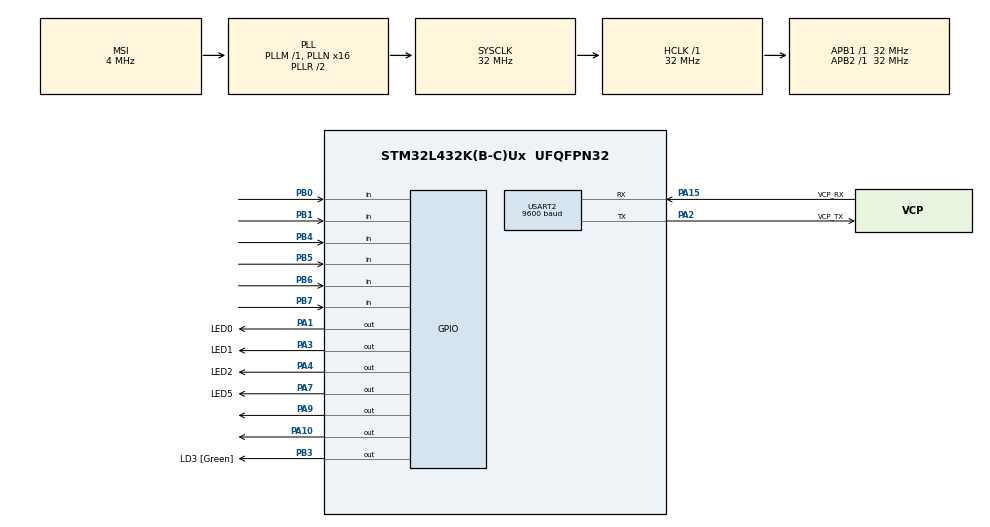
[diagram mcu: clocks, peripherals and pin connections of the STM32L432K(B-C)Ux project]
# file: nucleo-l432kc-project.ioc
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Mcu.Family=STM32L4
Mcu.Name=STM32L432K(B-C)Ux
Mcu.Package=UFQFPN32
NVIC.PriorityGroup=NVIC_PRIORITYGROUP_4
NVIC.TIM1_BRK_TIM15_IRQn=true\:0\:0\:false\:false\:true\:true\:true
NVIC.TIM1_CC_IRQn=true\:0\:0\:false\:false\:true\:true\:true
NVIC.TIM1_TRG_COM_IRQn=true\:0\:0\:false\:false\:true\:true\:true
NVIC.TIM1_UP_TIM16_IRQn=true\:0\:0\:false\:false\:true\:true\:true
PA0.GPIO_Label=MCO [High speed clock in]
PA0.Mode=HSE-External-Clock-Source-for-LittleOrca
PA0.Signal=RCC_CK_IN
PA1.GPIO_Label=LED0
PA1.Signal=GPIO_Output
PA10.Signal=GPIO_Output
PA13\ (JTMS-SWDIO).GPIO_Label=SWDIO
PA13\ (JTMS-SWDIO).Mode=Serial_Wire
PA13\ (JTMS-SWDIO).Signal=SYS_JTMS-SWDIO
PA14\ (JTCK-SWCLK).GPIO_Label=SWCLK
PA14\ (JTCK-SWCLK).Mode=Serial_Wire
PA14\ (JTCK-SWCLK).Signal=SYS_JTCK-SWCLK
PA15\ (JTDI).GPIO_Label=VCP_RX
PA15\ (JTDI).Mode=Asynchronous
PA15\ (JTDI).Signal=USART2_RX
PA2.GPIO_Label=VCP_TX
PA2.Mode=Asynchronous
PA2.Signal=USART2_TX
PA3.GPIO_Label=LED1
PA3.Signal=GPIO_Output
PA4.GPIO_Label=LED2
PA4.Signal=GPIO_Output
PA7.GPIO_Label=LED5
PA7.Signal=GPIO_Output
PA9.Signal=GPIO_Output
PB0.Signal=GPIO_Input
PB1.GPIO_PuPd=GPIO_NOPULL
PB1.Signal=GPIO_Input
PB3\ (JTDO-TRACESWO).GPIO_Label=LD3 [Green]
PB3\ (JTDO-TRACESWO).Signal=GPIO_Output
PB4\ (NJTRST).GPIO_PuPd=GPIO_NOPULL
PB4\ (NJTRST).Signal=GPIO_Input
PB5.GPIO_PuPd=GPIO_NOPULL
PB5.Signal=GPIO_Input
PB6.GPIO_PuPd=GPIO_NOPULL
PB6.Signal=GPIO_Input
PB7.GPIO_PuPd=GPIO_NOPULL
PB7.Signal=GPIO_Input
PC14-OSC32_IN\ (PC14).Mode=LSE-External-Oscillator
PC14-OSC32_IN\ (PC14).Signal=RCC_OSC32_IN
PC15-OSC32_OUT\ (PC15).Mode=LSE-External-Oscillator
PC15-OSC32_OUT\ (PC15).Signal=RCC_OSC32_OUT
ProjectManager.HeapSize=0x200
ProjectManager.StackSize=0x400
ProjectManager.TargetToolchain=STM32CubeIDE
RCC.AHBFreq_Value=32000000
RCC.APB1Freq_Value=32000000
RCC.APB1TimFreq_Value=32000000
RCC.APB2Freq_Value=32000000
RCC.APB2TimFreq_Value=32000000
RCC.CortexFreq_Value=32000000
RCC.HCLKFreq_Value=32000000
RCC.HSE_VALUE=8000000
RCC.HSI16_VALUE=16000000
RCC.HSI48_VALUE=48000000
RCC.HSI_VALUE=16000000
RCC.MSI_VALUE=4000000
RCC.PLLMUL=RCC_PLLMUL_4
RCC.PLLN=16
RCC.SYSCLKFreq_VALUE=32000000
RCC.SYSCLKSource=RCC_SYSCLKSOURCE_PLLCLK
RCC.VCOOutputFreq_Value=64000000
TIM1.Period=4999
TIM1.Prescaler=31999
TIM16.Prescaler=31
USART2.BaudRate=9600
USART2.VirtualMode-Asynchronous=VM_ASYNC
VP_TIM16_VS_ClockSourceINT.Mode=Enable_Timer
VP_TIM1_VS_ClockSourceINT.Mode=Internal
board=NUCLEO-L432KC

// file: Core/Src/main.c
/* USER CODE BEGIN Header */
/**
  ******************************************************************************
  * @file           : main.c
  * @brief          : Main program body
  ******************************************************************************
  * @attention
  *
  * Copyright (c) 2022 STMicroelectronics.
  * All rights reserved.
  *
  * This software is licensed under terms that can be found in the LICENSE file
  * in the root directory of this software component.
  * If no LICENSE file comes with this software, it is provided AS-IS.
  *
  ******************************************************************************
  */
/* USER CODE END Header */
#include "main.h"

/* USER CODE BEGIN Includes */
#include <stdio.h>
#include <stdlib.h>
/* USER CODE END Includes */

TIM_HandleTypeDef htim1;
TIM_HandleTypeDef htim16;

UART_HandleTypeDef huart2;

void SystemClock_Config(void);
static void MX_GPIO_Init(void);
static void MX_USART2_UART_Init(void);
static void MX_TIM16_Init(void);
static void MX_TIM1_Init(void);

/* USER CODE BEGIN 0 */
volatile uint16_t timer_end;
uint16_t timer_val;
uint16_t time_diff;
uint16_t time_diff_arr[50];
int rand_num ;
int flag;
int state = 1;
/* USER CODE END 0 */

int main(void)
{

  /* MCU Configuration--------------------------------------------------------*/

  /* Reset of all peripherals, Initializes the Flash interface and the Systick. */
  HAL_Init();

  /* Configure the system clock */
  SystemClock_Config();

  /* Initialize all configured peripherals */
  MX_GPIO_Init();
  MX_USART2_UART_Init();
  MX_TIM16_Init();
  MX_TIM1_Init();
  /* USER CODE BEGIN 2 */
  HAL_TIM_Base_Start(&htim16);
  /* USER CODE END 2 */

  /* Infinite loop */
  /* USER CODE BEGIN WHILE */
  int counter = 0;
  int sum = 0;
  int average = 0;
  char buff [100] = {0};
  int once = 1;

  HAL_Delay(5000);
  uint16_t end_time, start_time = __HAL_TIM_GET_COUNTER(&htim16);
  while (1)
  {
	  flag = 0;
	  if (counter < 50 ){
		  rand_num = rand()%6;
		  timer_val = __HAL_TIM_GET_COUNTER(&htim16);
		  if (rand_num == 0)
			  HAL_GPIO_WritePin(GPIOA, LED0_Pin, 1);
		  else if (rand_num == 1)
			  HAL_GPIO_WritePin(GPIOA, LED1_Pin,1);
		  else if (rand_num == 2)
				  HAL_GPIO_WritePin(GPIOA, LED2_Pin, 1);
		  else if (rand_num == 3)
				  HAL_GPIO_WritePin(GPIOA, GPIO_PIN_9, 1);
		  else if (rand_num == 4)
				  HAL_GPIO_WritePin(GPIOA, GPIO_PIN_10, 1);
		  else if (rand_num == 5)
				  HAL_GPIO_WritePin(GPIOA, LED5_Pin, 1);

//		  HAL_Delay(5000);
		  state = 1;
		  flag = 0;
		  HAL_TIM_Base_Start_IT(&htim1);
		  while (state == 1){
			if (rand_num == 0 && HAL_GPIO_ReadPin(GPIOB, GPIO_PIN_0) == 1){
				HAL_GPIO_WritePin(GPIOA, LED0_Pin, 0);
				timer_end = __HAL_TIM_GET_COUNTER(&htim16);
				state = 0;
				flag = 1;
				HAL_TIM_Base_Stop_IT(&htim1);
				__HAL_TIM_SET_COUNTER(&htim1, 0);
			}
			else if (rand_num == 1 && HAL_GPIO_ReadPin(GPIOB, GPIO_PIN_1) == 1){
				HAL_GPIO_WritePin(GPIOA, LED1_Pin,0);
				timer_end = __HAL_TIM_GET_COUNTER(&htim16);
				state = 0;
				flag = 1;
				HAL_TIM_Base_Stop_IT(&htim1);
				__HAL_TIM_SET_COUNTER(&htim1, 0);
			}
			else if (rand_num == 2 && HAL_GPIO_ReadPin(GPIOB, GPIO_PIN_4) == 1){
				HAL_GPIO_WritePin(GPIOA, LED2_Pin, 0);
				timer_end = __HAL_TIM_GET_COUNTER(&htim16);
				state = 0;
				flag = 1;
				HAL_TIM_Base_Stop_IT(&htim1);
				__HAL_TIM_SET_COUNTER(&htim1, 0);
			}
			else if (rand_num == 3 && HAL_GPIO_ReadPin(GPIOB, GPIO_PIN_5) == 1){
				HAL_GPIO_WritePin(GPIOA, GPIO_PIN_9, 0);
				timer_end = __HAL_TIM_GET_COUNTER(&htim16);
				state = 0;
				flag = 1;
				HAL_TIM_Base_Stop_IT(&htim1);
				__HAL_TIM_SET_COUNTER(&htim1, 0);
			}
			else if (rand_num == 4 && HAL_GPIO_ReadPin(GPIOB, GPIO_PIN_6) == 1){
				HAL_GPIO_WritePin(GPIOA, GPIO_PIN_10, 0);
				timer_end = __HAL_TIM_GET_COUNTER(&htim16);
				state = 0;
				flag = 1;
				HAL_TIM_Base_Stop_IT(&htim1);
				__HAL_TIM_SET_COUNTER(&htim1, 0);
			}
			else if (rand_num == 5 && HAL_GPIO_ReadPin(GPIOB, GPIO_PIN_7) == 1){
				HAL_GPIO_WritePin(GPIOA, LED5_Pin, 0);
				timer_end = __HAL_TIM_GET_COUNTER(&htim16);
				state = 0;
				flag = 1;
				HAL_TIM_Base_Stop_IT(&htim1);
				__HAL_TIM_SET_COUNTER(&htim1, 0);
			}
		  }
		  HAL_TIM_Base_Stop_IT(&htim1);

		  HAL_GPIO_WritePin(GPIOA, LED0_Pin, 0);
		  HAL_GPIO_WritePin(GPIOA, LED1_Pin, 0);
		  HAL_GPIO_WritePin(GPIOA, LED2_Pin, 0);
		  HAL_GPIO_WritePin(GPIOA, GPIO_PIN_9, 0);
		  HAL_GPIO_WritePin(GPIOA, GPIO_PIN_10, 0);
		  HAL_GPIO_WritePin(GPIOA, LED5_Pin, 0);

		  if (flag == 0) {
//			  time_diff = 5000;
			  timer_end = __HAL_TIM_GET_COUNTER(&htim16);
			  time_diff  = timer_end - timer_val;
		  }
		  else {
			  time_diff  = timer_end - timer_val;
		  }

		  time_diff_arr[counter] = time_diff;
		  counter++;

		  HAL_Delay(1000);

		  sprintf(buff, "%d: %u    \r\n", counter, time_diff);
		  HAL_UART_Transmit(&huart2, (uint8_t*) buff, sizeof(buff), 100);
	  }
	  else {
		  if (once == 1){
			  end_time = __HAL_TIM_GET_COUNTER(&htim16);
			  for (int i = 0 ; i <50 ; i++){
				 sum = sum + time_diff_arr[i];
			  }
			  average = sum / 50 ;
			  HAL_GPIO_WritePin(GPIOB, GPIO_PIN_3, 1);

			  sprintf(buff, "Done: Time = %u  \r\nAverage: %d    \r\n", end_time-start_time, average);
			  HAL_UART_Transmit(&huart2, (uint8_t*) buff, sizeof(buff), 100);

			  once = 0;
		  }
	  }
    /* USER CODE END WHILE */

  }
}

void SystemClock_Config(void)
{
  RCC_OscInitTypeDef RCC_OscInitStruct = {0};
  RCC_ClkInitTypeDef RCC_ClkInitStruct = {0};

  /** Configure the main internal regulator output voltage
  */
  if (HAL_PWREx_ControlVoltageScaling(PWR_REGULATOR_VOLTAGE_SCALE1) != HAL_OK)
  {
    Error_Handler();
  }
  /** Configure LSE Drive Capability
  */
  HAL_PWR_EnableBkUpAccess();
  __HAL_RCC_LSEDRIVE_CONFIG(RCC_LSEDRIVE_LOW);
  /** Initializes the RCC Oscillators according to the specified parameters
  * in the RCC_OscInitTypeDef structure.
  */
  RCC_OscInitStruct.OscillatorType = RCC_OSCILLATORTYPE_LSE|RCC_OSCILLATORTYPE_MSI;
  RCC_OscInitStruct.LSEState = RCC_LSE_ON;
  RCC_OscInitStruct.MSIState = RCC_MSI_ON;
  RCC_OscInitStruct.MSICalibrationValue = 0;
  RCC_OscInitStruct.MSIClockRange = RCC_MSIRANGE_6;
  RCC_OscInitStruct.PLL.PLLState = RCC_PLL_ON;
  RCC_OscInitStruct.PLL.PLLSource = RCC_PLLSOURCE_MSI;
  RCC_OscInitStruct.PLL.PLLM = 1;
  RCC_OscInitStruct.PLL.PLLN = 16;
  RCC_OscInitStruct.PLL.PLLP = RCC_PLLP_DIV7;
  RCC_OscInitStruct.PLL.PLLQ = RCC_PLLQ_DIV2;
  RCC_OscInitStruct.PLL.PLLR = RCC_PLLR_DIV2;
  if (HAL_RCC_OscConfig(&RCC_OscInitStruct) != HAL_OK)
  {
    Error_Handler();
  }
  /** Initializes the CPU, AHB and APB buses clocks
  */
  RCC_ClkInitStruct.ClockType = RCC_CLOCKTYPE_HCLK|RCC_CLOCKTYPE_SYSCLK
                              |RCC_CLOCKTYPE_PCLK1|RCC_CLOCKTYPE_PCLK2;
  RCC_ClkInitStruct.SYSCLKSource = RCC_SYSCLKSOURCE_PLLCLK;
  RCC_ClkInitStruct.AHBCLKDivider = RCC_SYSCLK_DIV1;
  RCC_ClkInitStruct.APB1CLKDivider = RCC_HCLK_DIV1;
  RCC_ClkInitStruct.APB2CLKDivider = RCC_HCLK_DIV1;

  if (HAL_RCC_ClockConfig(&RCC_ClkInitStruct, FLASH_LATENCY_1) != HAL_OK)
  {
    Error_Handler();
  }
  /** Enable MSI Auto calibration
  */
  HAL_RCCEx_EnableMSIPLLMode();
}

static void MX_TIM1_Init(void)
{

  TIM_ClockConfigTypeDef sClockSourceConfig = {0};
  TIM_MasterConfigTypeDef sMasterConfig = {0};

  htim1.Instance = TIM1;
  htim1.Init.Prescaler = 31999;
  htim1.Init.CounterMode = TIM_COUNTERMODE_UP;
  htim1.Init.Period = 4999;
  htim1.Init.ClockDivision = TIM_CLOCKDIVISION_DIV1;
  htim1.Init.RepetitionCounter = 0;
  htim1.Init.AutoReloadPreload = TIM_AUTORELOAD_PRELOAD_DISABLE;
  if (HAL_TIM_Base_Init(&htim1) != HAL_OK)
  {
    Error_Handler();
  }
  sClockSourceConfig.ClockSource = TIM_CLOCKSOURCE_INTERNAL;
  if (HAL_TIM_ConfigClockSource(&htim1, &sClockSourceConfig) != HAL_OK)
  {
    Error_Handler();
  }
  sMasterConfig.MasterOutputTrigger = TIM_TRGO_RESET;
  sMasterConfig.MasterOutputTrigger2 = TIM_TRGO2_RESET;
  sMasterConfig.MasterSlaveMode = TIM_MASTERSLAVEMODE_DISABLE;
  if (HAL_TIMEx_MasterConfigSynchronization(&htim1, &sMasterConfig) != HAL_OK)
  {
    Error_Handler();
  }

}

static void MX_TIM16_Init(void)
{

  htim16.Instance = TIM16;
  htim16.Init.Prescaler = 31;
  htim16.Init.CounterMode = TIM_COUNTERMODE_UP;
  htim16.Init.Period = 65535;
  htim16.Init.ClockDivision = TIM_CLOCKDIVISION_DIV1;
  htim16.Init.RepetitionCounter = 0;
  htim16.Init.AutoReloadPreload = TIM_AUTORELOAD_PRELOAD_DISABLE;
  if (HAL_TIM_Base_Init(&htim16) != HAL_OK)
  {
    Error_Handler();
  }

}

static void MX_USART2_UART_Init(void)
{

  huart2.Instance = USART2;
  huart2.Init.BaudRate = 9600;
  huart2.Init.WordLength = UART_WORDLENGTH_8B;
  huart2.Init.StopBits = UART_STOPBITS_1;
  huart2.Init.Parity = UART_PARITY_NONE;
  huart2.Init.Mode = UART_MODE_TX_RX;
  huart2.Init.HwFlowCtl = UART_HWCONTROL_NONE;
  huart2.Init.OverSampling = UART_OVERSAMPLING_16;
  huart2.Init.OneBitSampling = UART_ONE_BIT_SAMPLE_DISABLE;
  huart2.AdvancedInit.AdvFeatureInit = UART_ADVFEATURE_NO_INIT;
  if (HAL_UART_Init(&huart2) != HAL_OK)
  {
    Error_Handler();
  }

}

static void MX_GPIO_Init(void)
{
  GPIO_InitTypeDef GPIO_InitStruct = {0};

  /* GPIO Ports Clock Enable */
  __HAL_RCC_GPIOC_CLK_ENABLE();
  __HAL_RCC_GPIOA_CLK_ENABLE();
  __HAL_RCC_GPIOB_CLK_ENABLE();

  /*Configure GPIO pin Output Level */
  HAL_GPIO_WritePin(GPIOA, LED0_Pin|LED1_Pin|LED2_Pin|LED5_Pin
                          |GPIO_PIN_9|GPIO_PIN_10, GPIO_PIN_RESET);

  /*Configure GPIO pin Output Level */
  HAL_GPIO_WritePin(LD3_GPIO_Port, LD3_Pin, GPIO_PIN_RESET);

  /*Configure GPIO pins : LED0_Pin LED1_Pin LED2_Pin LED5_Pin
                           PA9 PA10 */
  GPIO_InitStruct.Pin = LED0_Pin|LED1_Pin|LED2_Pin|LED5_Pin
                          |GPIO_PIN_9|GPIO_PIN_10;
  GPIO_InitStruct.Mode = GPIO_MODE_OUTPUT_PP;
  GPIO_InitStruct.Pull = GPIO_NOPULL;
  GPIO_InitStruct.Speed = GPIO_SPEED_FREQ_LOW;
  HAL_GPIO_Init(GPIOA, &GPIO_InitStruct);

  /*Configure GPIO pins : PB0 PB1 PB4 PB5
                           PB6 PB7 */
  GPIO_InitStruct.Pin = GPIO_PIN_0|GPIO_PIN_1|GPIO_PIN_4|GPIO_PIN_5
                          |GPIO_PIN_6|GPIO_PIN_7;
  GPIO_InitStruct.Mode = GPIO_MODE_INPUT;
  GPIO_InitStruct.Pull = GPIO_NOPULL;
  HAL_GPIO_Init(GPIOB, &GPIO_InitStruct);

  /*Configure GPIO pin : LD3_Pin */
  GPIO_InitStruct.Pin = LD3_Pin;
  GPIO_InitStruct.Mode = GPIO_MODE_OUTPUT_PP;
  GPIO_InitStruct.Pull = GPIO_NOPULL;
  GPIO_InitStruct.Speed = GPIO_SPEED_FREQ_LOW;
  HAL_GPIO_Init(LD3_GPIO_Port, &GPIO_InitStruct);

}

/* USER CODE BEGIN 4 */
//void HAL_GPIO_EXTI_Callback(uint16_t GPIO_Pin)
//{
////	flag = 1;
////	if (rand_num == 0 && GPIO_Pin == PB_0_Pin){
////		HAL_GPIO_WritePin(GPIOA, LED0_Pin, 0);
////		timer_end = __HAL_TIM_GET_COUNTER(&htim16);
////	}
////	else if (rand_num == 1 && GPIO_Pin == PB_1_Pin){
////		HAL_GPIO_WritePin(GPIOA, LED1_Pin,0);
////		timer_end = __HAL_TIM_GET_COUNTER(&htim16);
////	}
////	else if (rand_num == 2 && GPIO_Pin == PB_2_Pin){
////		HAL_GPIO_WritePin(GPIOA, LED2_Pin, 0);
////		timer_end = __HAL_TIM_GET_COUNTER(&htim16);
////	}
////	else if (rand_num == 3 && GPIO_Pin == PB_3_Pin){
////		HAL_GPIO_WritePin(GPIOA, LED3_Pin, 0);
////		timer_end = __HAL_TIM_GET_COUNTER(&htim16);
////	}
////	else if (rand_num == 4 && GPIO_Pin == PB_4_Pin){
////		HAL_GPIO_WritePin(GPIOA, LED4_Pin, 0);
////		timer_end = __HAL_TIM_GET_COUNTER(&htim16);
////	}
////	else if (rand_num == 5 && GPIO_Pin == PB_5_Pin){
////		HAL_GPIO_WritePin(GPIOA, LED5_Pin, 0);
////		timer_end = __HAL_TIM_GET_COUNTER(&htim16);
////	}
////	else {
////		timer_end = __HAL_TIM_GET_COUNTER(&htim16) + 5000;
////	}
//
//
//	if (rand_num == 0 && GPIO_Pin == PB_0_Pin && state == 1){
//		HAL_TIM_Base_Start_IT(&htim1);
//		state = 0;
//	}
//	else if (rand_num == 1 && GPIO_Pin == PB_1_Pin && state == 1){
//		HAL_TIM_Base_Start_IT(&htim1);
//		state = 0;
//	}
//	else if (rand_num == 2 && GPIO_Pin == PB_2_Pin && state == 1){
//		HAL_TIM_Base_Start_IT(&htim1);
//		state = 0;
//	}
//	else if (rand_num == 3 && GPIO_Pin == PB_3_Pin && state == 1){
//		HAL_TIM_Base_Start_IT(&htim1);
//		state = 0;
//	}
//	else if (rand_num == 4 && GPIO_Pin == PB_4_Pin && state == 1){
//		HAL_TIM_Base_Start_IT(&htim1);
//		state = 0;
//	}
//	else if (rand_num == 5 && GPIO_Pin == PB_5_Pin && state == 1){
//		HAL_TIM_Base_Start_IT(&htim1);
//		state = 0;
//	}
//
//}
void HAL_TIM_PeriodElapsedCallback (TIM_HandleTypeDef *htim){

//	if (HAL_GPIO_ReadPin())
//	flag = 1;
//	if (rand_num == 0 && HAL_GPIO_ReadPin(GPIOB, PB_0_Pin) == 0){
//		HAL_GPIO_WritePin(GPIOA, LED0_Pin, 0);
//		timer_end = __HAL_TIM_GET_COUNTER(&htim16);
//		state = 1;
//	}
//	else if (rand_num == 1 && HAL_GPIO_ReadPin(GPIOB, PB_1_Pin) == 0){
//		HAL_GPIO_WritePin(GPIOA, LED1_Pin,0);
//		timer_end = __HAL_TIM_GET_COUNTER(&htim16);
//		state = 1;
//	}
//	else if (rand_num == 2 && HAL_GPIO_ReadPin(GPIOB, PB_2_Pin) == 0){
//		HAL_GPIO_WritePin(GPIOA, LED2_Pin, 0);
//		timer_end = __HAL_TIM_GET_COUNTER(&htim16);
//		state = 1;
//	}
//	else if (rand_num == 3 && HAL_GPIO_ReadPin(GPIOB, PB_3_Pin) == 0){
//		HAL_GPIO_WritePin(GPIOA, GPIO_PIN_9, 0);
//		timer_end = __HAL_TIM_GET_COUNTER(&htim16);
//		state = 1;
//	}
//	else if (rand_num == 4 && HAL_GPIO_ReadPin(GPIOB, PB_4_Pin) == 0){
//		HAL_GPIO_WritePin(GPIOA, GPIO_PIN_10, 0);
//		timer_end = __HAL_TIM_GET_COUNTER(&htim16);
//		state = 1;
//	}
//	else if (rand_num == 5 && HAL_GPIO_ReadPin(GPIOB, PB_5_Pin) == 0){
//		HAL_GPIO_WritePin(GPIOA, LED5_Pin, 0);
//		timer_end = __HAL_TIM_GET_COUNTER(&htim16);
//		state = 1;
//	}
//	else {
//		timer_end = __HAL_TIM_GET_COUNTER(&htim16) + 5000;
//		state = 1;
//	}
	if (htim == &htim1){
		HAL_TIM_Base_Stop_IT(&htim1);
		state = 0;
	}
}
/* USER CODE END 4 */

void Error_Handler(void)
{
  __disable_irq();
  while (1)
  {
  }
}
